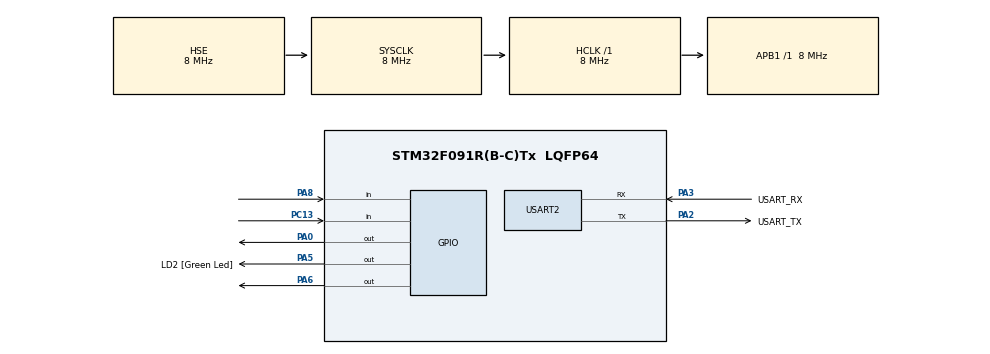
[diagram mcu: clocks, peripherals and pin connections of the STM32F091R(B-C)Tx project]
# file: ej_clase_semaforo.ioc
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Mcu.Family=STM32F0
Mcu.Name=STM32F091R(B-C)Tx
Mcu.Package=LQFP64
PA0.Signal=GPIO_Output
PA13.GPIO_Label=TMS
PA13.Mode=Serial_Wire
PA13.Signal=SYS_SWDIO
PA14.GPIO_Label=TCK
PA14.Mode=Serial_Wire
PA14.Signal=SYS_SWCLK
PA2.GPIO_Label=USART_TX
PA2.GPIO_Mode=GPIO_MODE_AF_PP
PA2.GPIO_PuPd=GPIO_NOPULL
PA2.GPIO_Speed=GPIO_SPEED_FREQ_LOW
PA2.Mode=Asynchronous
PA2.Signal=USART2_TX
PA3.GPIO_Label=USART_RX
PA3.GPIO_Mode=GPIO_MODE_AF_PP
PA3.GPIO_PuPd=GPIO_NOPULL
PA3.GPIO_Speed=GPIO_SPEED_FREQ_LOW
PA3.Mode=Asynchronous
PA3.Signal=USART2_RX
PA5.GPIO_Label=LD2 [Green Led]
PA5.GPIO_Mode=GPIO_MODE_OUTPUT_PP
PA5.GPIO_PuPd=GPIO_NOPULL
PA5.GPIO_Speed=GPIO_SPEED_FREQ_LOW
PA5.Signal=GPIO_Output
PA6.Signal=GPIO_Output
PA8.GPIO_PuPd=GPIO_PULLUP
PA8.Signal=GPIO_Input
PC13.Signal=GPIO_Input
PC14OSC32_IN.Mode=LSE-External-Oscillator
PC14OSC32_IN.Signal=RCC_OSC32_IN
PC15OSC32_OUT.Mode=LSE-External-Oscillator
PC15OSC32_OUT.Signal=RCC_OSC32_OUT
PF0-OSC_IN.Mode=HSE-External-Clock-Source
PF0-OSC_IN.Signal=RCC_OSC_IN
PF1-OSC_OUT.Signal=RCC_OSC_OUT
ProjectManager.HeapSize=0x200
ProjectManager.StackSize=0x400
ProjectManager.TargetToolchain=CMake
RCC.AHBFreq_Value=8000000
RCC.APB1Freq_Value=8000000
RCC.APB1TimFreq_Value=8000000
RCC.FLatency-AdvancedSettings=FLASH_LATENCY_0
RCC.HCLKFreq_Value=8000000
RCC.PLLDivider=RCC_PREDIV_DIV2
RCC.PLLMUL=RCC_PLL_MUL12
RCC.PREFETCH_ENABLE-AdvancedSettings=1
RCC.SYSCLKFreq_VALUE=8000000
RCC.SYSCLKSource=RCC_SYSCLKSOURCE_HSE
USART2.VirtualMode=VM_ASYNC
USART2.VirtualMode-Asynchronous=VM_ASYNC
board=NUCLEO-F091RC

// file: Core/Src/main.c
/* USER CODE BEGIN Header */
/**
  ******************************************************************************
  * @file           : main.c
  * @brief          : Main program body
  ******************************************************************************
  * @attention
  *
  * Copyright (c) 2026 STMicroelectronics.
  * All rights reserved.
  *
  * This software is licensed under terms that can be found in the LICENSE file
  * in the root directory of this software component.
  * If no LICENSE file comes with this software, it is provided AS-IS.
  *
  ******************************************************************************
  */
/* USER CODE END Header */
#include "main.h"
#include "stm32f091xc.h"
#include "stm32f0xx_hal.h"
#include <stdint.h>

UART_HandleTypeDef huart2;

void SystemClock_Config(void);
static void MX_GPIO_Init(void);
static void MX_USART2_UART_Init(void);

int main(void)
{

  /* MCU Configuration--------------------------------------------------------*/

  /* Reset of all peripherals, Initializes the Flash interface and the Systick. */
  HAL_Init();

  /* Configure the system clock */
  SystemClock_Config();

  /* Initialize all configured peripherals */
  MX_GPIO_Init();
  MX_USART2_UART_Init();
  /* USER CODE BEGIN 2 */
  uint8_t pos;
  /* USER CODE END 2 */
  /* Infinite loop */
  /* USER CODE BEGIN WHILE */
  while (1)
  {
    while((GPIOC->IDR & (1UL << 13)) && (GPIOA->IDR & (1UL << 8)));
    HAL_Delay(5);
    if((GPIOC->IDR & (1UL << 13)) == 0){
      if(++pos == 3){//++pos es un pre-incremento, primero incrementa y luego compara
        pos = 0;
      }
      while((GPIOC->IDR & (1UL << 13)) == 0);
    }
    if((GPIOA->IDR & (1UL << 8)) == 0){
      if(++pos == 3){//++pos es un pre-incremento, primero incrementa y luego compara
        pos = 0;
      }
      while((GPIOA->IDR & (1UL << 8)) == 0);
    }
    HAL_Delay(5);
    switch (pos){
      case 0:
        GPIOA->BSRR = (1UL) | (1UL << 21) | (1UL << 22);
        break;
      case 1:
        GPIOA->BSRR = (1UL << 16) | (1UL << 5) | (1UL << 22);
        break;
      default:
        GPIOA->BSRR = (1UL << 16) | (1UL << 21) | (1UL << 6);
        break;

    }

    /* USER CODE END WHILE */

  }
}

void SystemClock_Config(void)
{
  RCC_OscInitTypeDef RCC_OscInitStruct = {0};
  RCC_ClkInitTypeDef RCC_ClkInitStruct = {0};
  RCC_PeriphCLKInitTypeDef PeriphClkInit = {0};

  /** Initializes the RCC Oscillators according to the specified parameters
  * in the RCC_OscInitTypeDef structure.
  */
  RCC_OscInitStruct.OscillatorType = RCC_OSCILLATORTYPE_HSE;
  RCC_OscInitStruct.HSEState = RCC_HSE_BYPASS;
  RCC_OscInitStruct.PLL.PLLState = RCC_PLL_NONE;
  if (HAL_RCC_OscConfig(&RCC_OscInitStruct) != HAL_OK)
  {
    Error_Handler();
  }

  /** Initializes the CPU, AHB and APB buses clocks
  */
  RCC_ClkInitStruct.ClockType = RCC_CLOCKTYPE_HCLK|RCC_CLOCKTYPE_SYSCLK
                              |RCC_CLOCKTYPE_PCLK1;
  RCC_ClkInitStruct.SYSCLKSource = RCC_SYSCLKSOURCE_HSE;
  RCC_ClkInitStruct.AHBCLKDivider = RCC_SYSCLK_DIV1;
  RCC_ClkInitStruct.APB1CLKDivider = RCC_HCLK_DIV1;

  if (HAL_RCC_ClockConfig(&RCC_ClkInitStruct, FLASH_LATENCY_0) != HAL_OK)
  {
    Error_Handler();
  }
  PeriphClkInit.PeriphClockSelection = RCC_PERIPHCLK_USART2;
  PeriphClkInit.Usart2ClockSelection = RCC_USART2CLKSOURCE_PCLK1;
  if (HAL_RCCEx_PeriphCLKConfig(&PeriphClkInit) != HAL_OK)
  {
    Error_Handler();
  }
}

static void MX_USART2_UART_Init(void)
{

  huart2.Instance = USART2;
  huart2.Init.BaudRate = 115200;
  huart2.Init.WordLength = UART_WORDLENGTH_8B;
  huart2.Init.StopBits = UART_STOPBITS_1;
  huart2.Init.Parity = UART_PARITY_NONE;
  huart2.Init.Mode = UART_MODE_TX_RX;
  huart2.Init.HwFlowCtl = UART_HWCONTROL_NONE;
  huart2.Init.OverSampling = UART_OVERSAMPLING_16;
  huart2.Init.OneBitSampling = UART_ONE_BIT_SAMPLE_DISABLE;
  huart2.AdvancedInit.AdvFeatureInit = UART_ADVFEATURE_NO_INIT;
  if (HAL_UART_Init(&huart2) != HAL_OK)
  {
    Error_Handler();
  }

}

static void MX_GPIO_Init(void)
{
  GPIO_InitTypeDef GPIO_InitStruct = {0};

  /* GPIO Ports Clock Enable */
  __HAL_RCC_GPIOC_CLK_ENABLE();
  __HAL_RCC_GPIOF_CLK_ENABLE();
  __HAL_RCC_GPIOA_CLK_ENABLE();

  /*Configure GPIO pin Output Level */
  HAL_GPIO_WritePin(GPIOA, GPIO_PIN_0|LD2_Pin|GPIO_PIN_6, GPIO_PIN_RESET);

  /*Configure GPIO pin : PC13 */
  GPIO_InitStruct.Pin = GPIO_PIN_13;
  GPIO_InitStruct.Mode = GPIO_MODE_INPUT;
  GPIO_InitStruct.Pull = GPIO_NOPULL;
  HAL_GPIO_Init(GPIOC, &GPIO_InitStruct);

  /*Configure GPIO pins : PA0 LD2_Pin PA6 */
  GPIO_InitStruct.Pin = GPIO_PIN_0|LD2_Pin|GPIO_PIN_6;
  GPIO_InitStruct.Mode = GPIO_MODE_OUTPUT_PP;
  GPIO_InitStruct.Pull = GPIO_NOPULL;
  GPIO_InitStruct.Speed = GPIO_SPEED_FREQ_LOW;
  HAL_GPIO_Init(GPIOA, &GPIO_InitStruct);

  /*Configure GPIO pin : PA8 */
  GPIO_InitStruct.Pin = GPIO_PIN_8;
  GPIO_InitStruct.Mode = GPIO_MODE_INPUT;
  GPIO_InitStruct.Pull = GPIO_PULLUP;
  HAL_GPIO_Init(GPIOA, &GPIO_InitStruct);

}

void Error_Handler(void)
{
  __disable_irq();
  while (1)
  {
  }
}
